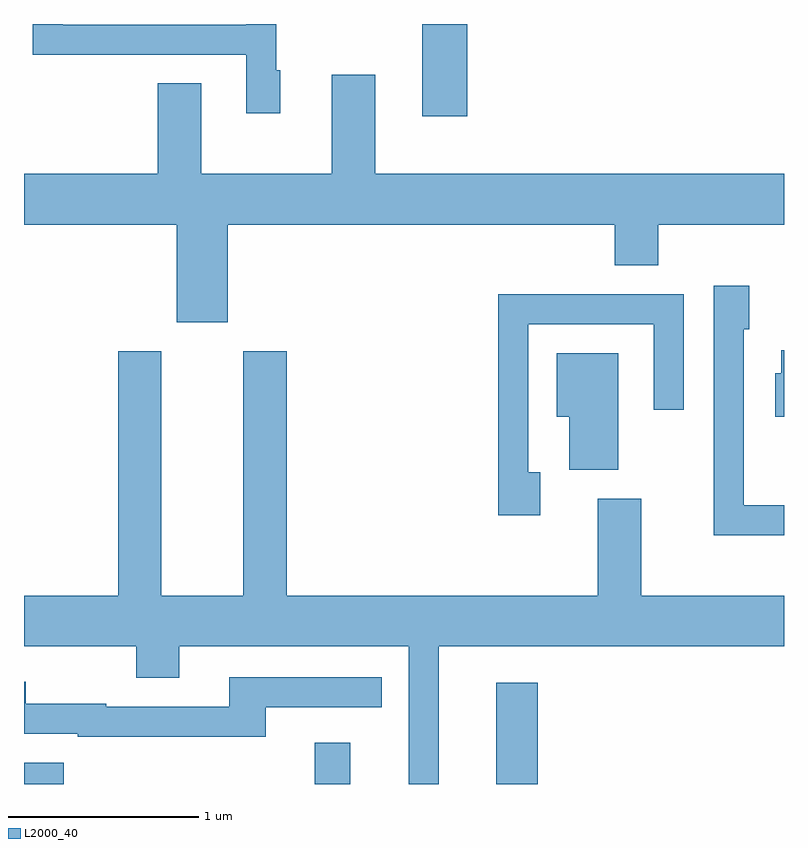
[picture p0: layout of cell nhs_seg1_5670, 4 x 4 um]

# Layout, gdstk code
import gdstk
lib = gdstk.Library(unit=1e-6, precision=1e-09)
def R(c, l, rs):  # rectangles x0, y0, x1, y1
    for r in rs: c.add(gdstk.rectangle(r[:2], r[2:], *l))
def P(c, l, *ps):  # polygons
    for p in ps: c.add(gdstk.Polygon(p, *l))
L2000_40 = (2000, 40)

nhs_seg1_5670 = lib.new_cell('nhs_seg1_5670')
R(nhs_seg1_5670, L2000_40, [(355.611,927.712,355.819,927.824), (357.141,927.712,357.329,927.929), (358.096,927.712,358.314,928.244), (357.706,931.226,357.944,931.712)])
P(nhs_seg1_5670, L2000_40, [(356.959,931.469),(356.939,931.469),(356.939,931.712),(356.781,931.712),(356.781,931.709),(355.814,931.709),(355.814,931.712),(355.656,931.712),(355.656,931.551),(356.781,931.551),(356.781,931.241),(356.959,931.241)],
  [(356.684,930.656),(358.721,930.656),(358.721,930.441),(358.949,930.441),(358.949,930.656),(359.611,930.656),(359.611,930.924),(357.459,930.924),(357.459,931.444),(357.231,931.444),(357.231,930.924),(356.544,930.924),(356.544,931.399),(356.316,931.399),(356.316,930.924),(355.611,930.924),(355.611,930.656),(356.416,930.656),(356.416,930.141),(356.684,930.141)],
  [(359.611,929.179),(359.399,929.179),(359.399,930.106),(359.429,930.106),(359.429,930.334),(359.241,930.334),(359.241,929.021),(359.611,929.021)],
  [(358.329,929.354),(358.264,929.354),(358.264,930.131),(358.926,930.131),(358.926,929.683),(359.084,929.683),(359.084,930.289),(358.106,930.289),(358.106,929.126),(358.329,929.126)],
  [(359.611,929.994),(359.596,929.994),(359.596,929.874),(359.566,929.874),(359.566,929.646),(359.611,929.646)],
  [(357.794,928.436),(359.611,928.436),(359.611,928.704),(358.859,928.704),(358.859,929.214),(358.631,929.214),(358.631,928.704),(356.994,928.704),(356.994,929.989),(356.766,929.989),(356.766,928.704),(356.334,928.704),(356.334,929.989),(356.106,929.989),(356.106,928.704),(355.611,928.704),(355.611,928.436),(356.201,928.436),(356.201,928.271),(356.429,928.271),(356.429,928.436),(357.636,928.436),(357.636,927.712),(357.794,927.712)],
  [(358.739,929.979),(358.416,929.979),(358.416,929.646),(358.481,929.646),(358.481,929.366),(358.739,929.366)],
  [(356.884,928.116),(357.493,928.116),(357.493,928.274),(356.691,928.274),(356.691,928.119),(356.045,928.119),(356.045,928.134),(355.619,928.134),(355.619,928.249),(355.611,928.249),(355.611,927.976),(355.895,927.976),(355.895,927.961),(356.884,927.961)])

lib.write_gds('nhs_seg1_5670.gds')
